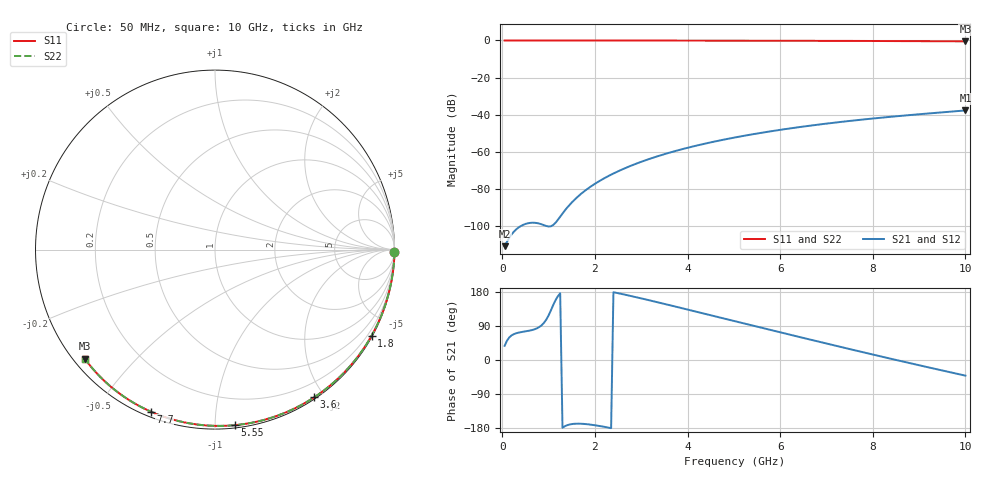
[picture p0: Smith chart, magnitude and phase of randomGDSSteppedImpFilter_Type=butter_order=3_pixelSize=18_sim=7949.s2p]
! freq	dB(S11)	phase(S11)	dB(S12)	phase(S12)
!  dB(S21)	phase(S21)	dB(S22)	phase(S22)
!S-par simulation data
#  GHz  S  DB  R 50
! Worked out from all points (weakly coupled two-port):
!   200 points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, 50 MHz to 10 GHz, reference 50 ohm
!   highest |S21| = -37.63 dB at 10 GHz (marker M1); lowest = -110.6 dB at 50 MHz (marker M2)
!   lowest |S11| = -0.5 dB at 10 GHz (marker M3), VSWR 36.51, Z = 1.55 - j18.1 ohm
!   |S11| at or under -10 dB: nowhere
!   |S22| runs from -0.5 to 0.0 dB; largest |S21 - S12| = 0
!   S11 on the Smith chart (normalised r, x): 50 MHz: open; 1.8 GHz: 0.03, -3.91; 3.6 GHz: 0.02, -1.88; 5.55 GHz: 0.02, -1.12; 7.7 GHz: 0.02, -0.68; 10 GHz: 0.03, -0.36
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0.05  -0.00 -0.8  -110.58 37.3  -110.58 37.3  -0.00 -0.8
0.45  -0.01 -7.3  -99.12 74.6  -99.12 74.6  -0.01 -7.3
0.9  -0.02 -14.5  -99.29 98.1  -99.29 98.1  -0.02 -14.5
1.75  -0.04 -27.9  -81.46 -168.6  -81.46 -168.6  -0.04 -27.9
1.8  -0.04 -28.7  -80.49 -169.1  -80.49 -169.1  -0.04 -28.7
1.85  -0.04 -29.5  -79.58 -169.7  -79.58 -169.7  -0.04 -29.5
2.05  -0.04 -32.6  -76.27 -173.1  -76.27 -173.1  -0.04 -32.6
2.25  -0.05 -35.7  -73.42 -177.5  -73.42 -177.5  -0.05 -35.7
2.55  -0.05 -40.3  -69.75 175.0  -69.75 175.0  -0.05 -40.3
2.95  -0.06 -46.4  -65.68 164.1  -65.68 164.1  -0.06 -46.4
3.4  -0.07 -53.1  -61.87 151.0  -61.87 151.0  -0.07 -53.1
3.6  -0.08 -56.1  -60.38 145.1  -60.38 145.1  -0.08 -56.1
3.9  -0.08 -60.5  -58.33 136.2  -58.33 136.2  -0.08 -60.5
4.3  -0.09 -66.2  -55.89 124.1  -55.89 124.1  -0.09 -66.2
5.05  -0.12 -76.8  -52.01 101.6  -52.01 101.6  -0.12 -76.8
5.55  -0.14 -83.7  -49.82 86.6  -49.82 86.6  -0.14 -83.6
6.1  -0.16 -91.0  -47.68 70.1  -47.68 70.1  -0.16 -91.0
6.7  -0.19 -98.9  -45.63 52.3  -45.63 52.3  -0.19 -98.9
7.7  -0.26 -111.7  -42.72 23.1  -42.72 23.1  -0.26 -111.7
8.35  -0.31 -119.8  -41.11 4.4  -41.11 4.4  -0.31 -119.8
9.2  -0.39 -130.3  -39.24 -19.4  -39.24 -19.4  -0.39 -130.2
10  -0.48 -140.1  -37.63 -41.3  -37.63 -41.3  -0.48 -140.0
